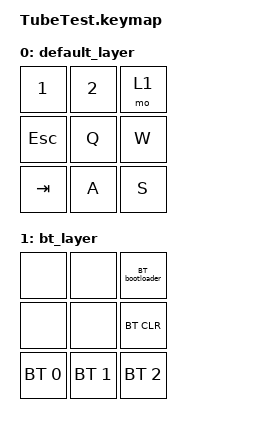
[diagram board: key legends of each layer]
#include <behaviors.dtsi>
#include <dt-bindings/zmk/keys.h>
#include <dt-bindings/zmk/bt.h>

/ {
	keymap {
		compatible = "zmk,keymap";
		
		default_layer {
			bindings = <
				&kp N1		&kp N2		&mo 1		 
				&kp ESC		&kp Q		&kp W		
				&kp TAB		&kp A		&kp S		
			>;
		};
		
		bt_layer {
			bindings = <
				&none				&none				&bt bootloader		
				&none				&none				&bt BT_CLR				
				&bt BT_SEL 0		&bt BT_SEL 1		&bt BT_SEL 2				
			>;
		};
	};
};	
